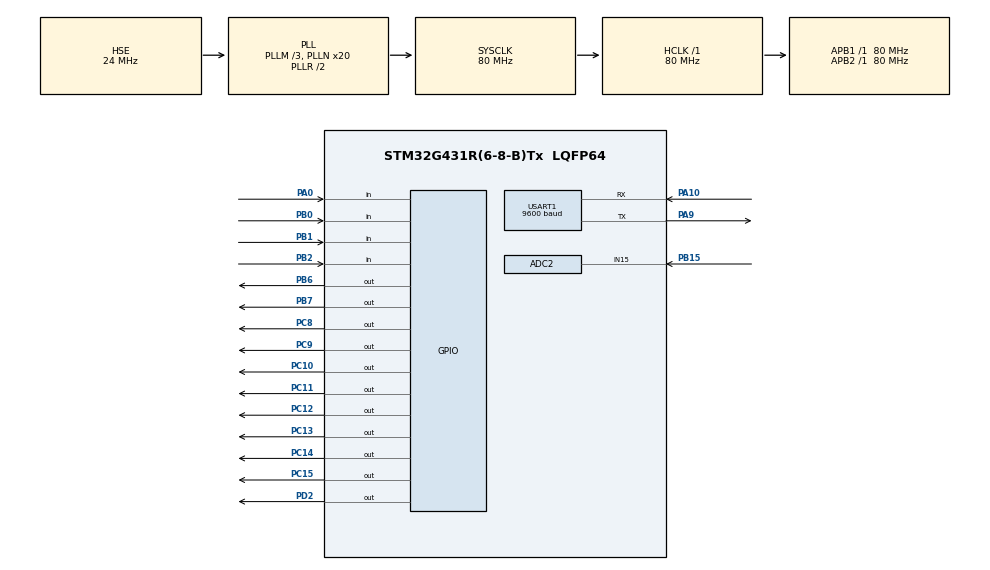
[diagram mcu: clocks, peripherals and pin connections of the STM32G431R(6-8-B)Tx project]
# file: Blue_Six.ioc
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ADC2.Channel-0\#ChannelRegularConversion=ADC_CHANNEL_15
ADC2.NbrOfConversionFlag=1
ADC2.OffsetNumber-0\#ChannelRegularConversion=ADC_OFFSET_NONE
ADC2.Rank-0\#ChannelRegularConversion=1
ADC2.SamplingTime-0\#ChannelRegularConversion=ADC_SAMPLETIME_640CYCLES_5
Mcu.Family=STM32G4
Mcu.Name=STM32G431R(6-8-B)Tx
Mcu.Package=LQFP64
NVIC.PriorityGroup=NVIC_PRIORITYGROUP_4
NVIC.USART1_IRQn=true\:0\:0\:false\:false\:true\:true\:true
PA0.GPIO_Mode=GPIO_MODE_INPUT
PA0.Signal=GPIO_Input
PA10.Mode=Asynchronous
PA10.Signal=USART1_RX
PA9.Mode=Asynchronous
PA9.Signal=USART1_TX
PB0.GPIO_Mode=GPIO_MODE_INPUT
PB0.Signal=GPIO_Input
PB1.GPIO_Mode=GPIO_MODE_INPUT
PB1.Signal=GPIO_Input
PB15.Mode=IN15-Single-Ended
PB15.Signal=ADC2_IN15
PB2.GPIO_Mode=GPIO_MODE_INPUT
PB2.Signal=GPIO_Input
PB6.PinState=GPIO_PIN_SET
PB6.Signal=GPIO_Output
PB7.PinState=GPIO_PIN_SET
PB7.Signal=GPIO_Output
PC10.PinState=GPIO_PIN_SET
PC10.Signal=GPIO_Output
PC11.PinState=GPIO_PIN_SET
PC11.Signal=GPIO_Output
PC12.PinState=GPIO_PIN_SET
PC12.Signal=GPIO_Output
PC13.PinState=GPIO_PIN_SET
PC13.Signal=GPIO_Output
PC14-OSC32_IN.PinState=GPIO_PIN_SET
PC14-OSC32_IN.Signal=GPIO_Output
PC15-OSC32_OUT.PinState=GPIO_PIN_SET
PC15-OSC32_OUT.Signal=GPIO_Output
PC8.PinState=GPIO_PIN_SET
PC8.Signal=GPIO_Output
PC9.PinState=GPIO_PIN_SET
PC9.Signal=GPIO_Output
PD2.PinState=GPIO_PIN_RESET
PD2.Signal=GPIO_Output
PF0-OSC_IN.Mode=HSE-External-Oscillator
PF0-OSC_IN.Signal=RCC_OSC_IN
PF1-OSC_OUT.Mode=HSE-External-Oscillator
PF1-OSC_OUT.Signal=RCC_OSC_OUT
ProjectManager.HeapSize=0x200
ProjectManager.StackSize=0x400
ProjectManager.TargetToolchain=MDK-ARM V5.27
RCC.ADC12Freq_Value=80000000
RCC.AHBFreq_Value=80000000
RCC.APB1Freq_Value=80000000
RCC.APB1TimFreq_Value=80000000
RCC.APB2Freq_Value=80000000
RCC.APB2TimFreq_Value=80000000
RCC.CortexFreq_Value=80000000
RCC.EXTERNAL_CLOCK_VALUE=12288000
RCC.HCLKFreq_Value=80000000
RCC.HSE_VALUE=24000000
RCC.HSI48_VALUE=48000000
RCC.HSI_VALUE=16000000
RCC.LSE_VALUE=32768
RCC.PLLM=RCC_PLLM_DIV3
RCC.PLLN=20
RCC.PLLSourceVirtual=RCC_PLLSOURCE_HSE
RCC.SYSCLKFreq_VALUE=80000000
RCC.SYSCLKSource=RCC_SYSCLKSOURCE_PLLCLK
RCC.USBFreq_Value=80000000
RCC.VCOOutputFreq_Value=160000000
RTC.AsynchPrediv=31
RTC.Date=4
RTC.Hours=23
RTC.Minutes=59
RTC.Month=RTC_MONTH_APRIL
RTC.Seconds=55
RTC.SynchPrediv=999
RTC.WeekDay=RTC_WEEKDAY_TUESDAY
RTC.Year=23
USART1.BaudRate=9600
USART1.VirtualMode-Asynchronous=VM_ASYNC
VP_RTC_VS_RTC_Activate.Mode=RTC_Enabled
VP_RTC_VS_RTC_Calendar.Mode=RTC_Calendar
VP_SYS_VS_DBSignals.Mode=DisableDeadBatterySignals
board=custom

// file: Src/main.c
/* USER CODE BEGIN Header */
/**
  ******************************************************************************
  * @file           : main.c
  * @brief          : Main program body
  ******************************************************************************
  * @attention
  *
  * <h2><center>&copy; Copyright (c) 2023 STMicroelectronics.
  * All rights reserved.</center></h2>
  *
  * This software component is licensed by ST under BSD 3-Clause license,
  * the "License"; You may not use this file except in compliance with the
  * License. You may obtain a copy of the License at:
  *                        opensource.org/licenses/BSD-3-Clause
  *
  ******************************************************************************
  */
/* USER CODE END Header */

#include "main.h"
#include "adc.h"
#include "rtc.h"
#include "usart.h"
#include "gpio.h"

/* USER CODE BEGIN Includes */
#include "i2c_hal.h"
#include "lcd_hal.h"
#include <stdio.h>
#include <string.h>
/* USER CODE END Includes */

/* USER CODE BEGIN PTD */
#define k1 HAL_GPIO_ReadPin(GPIOB,GPIO_PIN_0)
#define k2 HAL_GPIO_ReadPin(GPIOB,GPIO_PIN_1)
#define k3 HAL_GPIO_ReadPin(GPIOB,GPIO_PIN_2)
#define k4 HAL_GPIO_ReadPin(GPIOA,GPIO_PIN_0)
#define key k1 | (k2<<1) | (k3<<2) | (k4<<3) | 0xf0

/* USER CODE END PTD */

/* USER CODE BEGIN PM */
_Bool ui = 0;
_Bool led1_Flag = 1;

RTC_TimeTypeDef T = {0};
RTC_DateTypeDef D = {0};

float volt = 0;
float k = 0.1;

uint8_t tag;
uint8_t cnt;
uint8_t Key3_Flag = 0;
_Bool light_Flag = 1;
uint8_t RX_pointer = 0;
uint8_t tx_Buffer[20];
uint8_t rx_Buffer[20];

uint8_t led_ctrl = 0x00;
uint8_t LED_State[4] = "OFF";
uint8_t Time_Set[3] = {0};
uint8_t Time_Set_vaild[3] = {0};
uint8_t rx_data[2];

uint32_t LCD_tick = 0;
uint32_t LED_tick = 0;
uint32_t Key_tick = 0;
uint32_t TX_tick = 0;
uint32_t RX_tick = 0;
/* USER CODE END PM */

void SystemClock_Config(void);
/* USER CODE BEGIN PFP */
void LED_Disp(uint8_t led);
void TX_Proc(void);
void RX_Proc(void);
void RTC_Proc(void);
void ADC_Proc(void);
void LCD_Proc(void);
void LED_Proc(void);
void Key_Proc(void);
void Key_Read(void);

/* USER CODE END PFP */

/* USER CODE BEGIN 0 */
struct __FILE
{
  int handle;
};

FILE __stdout;
int fputc(int ch, FILE *f)
{
  HAL_UART_Transmit(&huart1,(u8 *)&ch,1,50);
  return ch;
}

void HAL_UART_RxCpltCallback(UART_HandleTypeDef *huart)
{
	RX_tick = uwTick;

	rx_Buffer[RX_pointer++] = rx_data[0];
	HAL_UART_Receive_IT(&huart1,rx_data,1);
}
/* USER CODE END 0 */

int main(void)
{

  /* MCU Configuration--------------------------------------------------------*/

  /* Reset of all peripherals, Initializes the Flash interface and the Systick. */
  HAL_Init();

  /* Configure the system clock */
  SystemClock_Config();

  /* Initialize all configured peripherals */
  MX_GPIO_Init();
  MX_ADC2_Init();
  MX_RTC_Init();
  MX_USART1_UART_Init();
  /* USER CODE BEGIN 2 */
	I2CInit();
	LCD_Init();
	LCD_Clear(Black);
	LCD_SetBackColor(Black);
	LCD_SetTextColor(White);

	printf("12345");
	HAL_UART_Receive_IT(&huart1,rx_data,1);
//	EEPROM_Write(0x01,1);
	k = EEPROM_Read(0x01) / 10.0f;

  /* USER CODE END 2 */

  /* Infinite loop */
  /* USER CODE BEGIN WHILE */
  while (1)
  {
	  LCD_Proc();
	  Key_Proc();
	  LED_Proc();
	  ADC_Proc();
	  RTC_Proc();
	  TX_Proc();
	  RX_Proc();
    /* USER CODE END WHILE */

  }
}

void SystemClock_Config(void)
{
  RCC_OscInitTypeDef RCC_OscInitStruct = {0};
  RCC_ClkInitTypeDef RCC_ClkInitStruct = {0};
  RCC_PeriphCLKInitTypeDef PeriphClkInit = {0};

  /** Configure the main internal regulator output voltage
  */
  HAL_PWREx_ControlVoltageScaling(PWR_REGULATOR_VOLTAGE_SCALE1);
  /** Initializes the CPU, AHB and APB busses clocks
  */
  RCC_OscInitStruct.OscillatorType = RCC_OSCILLATORTYPE_LSI|RCC_OSCILLATORTYPE_HSE;
  RCC_OscInitStruct.HSEState = RCC_HSE_ON;
  RCC_OscInitStruct.LSIState = RCC_LSI_ON;
  RCC_OscInitStruct.PLL.PLLState = RCC_PLL_ON;
  RCC_OscInitStruct.PLL.PLLSource = RCC_PLLSOURCE_HSE;
  RCC_OscInitStruct.PLL.PLLM = RCC_PLLM_DIV3;
  RCC_OscInitStruct.PLL.PLLN = 20;
  RCC_OscInitStruct.PLL.PLLP = RCC_PLLP_DIV2;
  RCC_OscInitStruct.PLL.PLLQ = RCC_PLLQ_DIV2;
  RCC_OscInitStruct.PLL.PLLR = RCC_PLLR_DIV2;
  if (HAL_RCC_OscConfig(&RCC_OscInitStruct) != HAL_OK)
  {
    Error_Handler();
  }
  /** Initializes the CPU, AHB and APB busses clocks
  */
  RCC_ClkInitStruct.ClockType = RCC_CLOCKTYPE_HCLK|RCC_CLOCKTYPE_SYSCLK
                              |RCC_CLOCKTYPE_PCLK1|RCC_CLOCKTYPE_PCLK2;
  RCC_ClkInitStruct.SYSCLKSource = RCC_SYSCLKSOURCE_PLLCLK;
  RCC_ClkInitStruct.AHBCLKDivider = RCC_SYSCLK_DIV1;
  RCC_ClkInitStruct.APB1CLKDivider = RCC_HCLK_DIV1;
  RCC_ClkInitStruct.APB2CLKDivider = RCC_HCLK_DIV1;

  if (HAL_RCC_ClockConfig(&RCC_ClkInitStruct, FLASH_LATENCY_3) != HAL_OK)
  {
    Error_Handler();
  }
  /** Initializes the peripherals clocks
  */
  PeriphClkInit.PeriphClockSelection = RCC_PERIPHCLK_RTC|RCC_PERIPHCLK_USART1
                              |RCC_PERIPHCLK_ADC12;
  PeriphClkInit.Usart1ClockSelection = RCC_USART1CLKSOURCE_PCLK2;
  PeriphClkInit.Adc12ClockSelection = RCC_ADC12CLKSOURCE_SYSCLK;
  PeriphClkInit.RTCClockSelection = RCC_RTCCLKSOURCE_LSI;

  if (HAL_RCCEx_PeriphCLKConfig(&PeriphClkInit) != HAL_OK)
  {
    Error_Handler();
  }
}

/* USER CODE BEGIN 4 */
void RTC_Proc(void)
{
	HAL_RTC_GetTime(&hrtc,&T,RTC_FORMAT_BIN);
	HAL_RTC_GetDate(&hrtc,&D,RTC_FORMAT_BIN);
}

void ADC_Proc(void)
{
	HAL_ADC_Start(&hadc2);
	HAL_ADC_PollForConversion(&hadc2,2);
	volt = HAL_ADC_GetValue(&hadc2) * 3.3f / 4095.0f;
	HAL_ADC_Stop(&hadc2);
}

void TX_Proc(void)
{
	if(uwTick - TX_tick < 500) return;
	TX_tick = uwTick;
	if(T.Hours == Time_Set_vaild[0] && T.Minutes == Time_Set_vaild[1] && T.Seconds == Time_Set_vaild[2] )
	{
		printf("%4.2f+%3.1f+%02d%02d%02d\r\n",volt,k,Time_Set_vaild[0],Time_Set_vaild[1],Time_Set_vaild[2]);
	}
}

void RX_Proc(void)
{
	if(uwTick - RX_tick <50) return;
	RX_tick  = uwTick;
	if((rx_Buffer[0] == 'k') && (rx_Buffer[1] == '0') && (rx_Buffer[2] == '.') && (RX_pointer == 6) && (rx_Buffer[4] == '\\')&& (rx_Buffer[5] == 'n'))
	{

		if(rx_Buffer[3] < '9' && rx_Buffer[3] > '0')
		{
			k = (rx_Buffer[3] - '0') / 10.0f;
			printf("ok\r\n");
			EEPROM_Write(0x01,rx_Buffer[3] - '0');
		}
		else
		{
			printf("请输入正确的数字\r\n");
		}

	}
	else if(RX_pointer > 0)
	{
		printf("输入格式错误\r\n");
	}
	RX_pointer = 0;
	memset(rx_Buffer,'\0',sizeof(rx_Buffer));
}

void LCD_Proc(void)
{
	if(uwTick - LCD_tick < 200) return;
	LCD_tick = uwTick;

	uint8_t LCD_Buffer[20];
	if(ui == 0)
	{
		sprintf((char *)LCD_Buffer,"  V1:%4.2fV          ",volt);
		LCD_DisplayStringLine(Line1,LCD_Buffer);
		sprintf((char *)LCD_Buffer,"  k:%3.1f            ",k);
		LCD_DisplayStringLine(Line3,LCD_Buffer);
		if(led1_Flag == 1)
		{
			sprintf((char *)LED_State,"ON");
		}
		else
		{
			sprintf((char *)LED_State,"OFF");
		}
		sprintf((char *)LCD_Buffer,"  LED:%s             ",LED_State);
		LCD_DisplayStringLine(Line5,LCD_Buffer);
		sprintf((char *)LCD_Buffer,"  T:%02d-%02d-%02d           ",T.Hours,T.Minutes,T.Seconds);
		LCD_DisplayStringLine(Line7,LCD_Buffer);
		LCD_DisplayStringLine(Line9,(u8*)"                   1");
	}
	else
	{
		LCD_DisplayStringLine(Line2,(u8 *)"       Setting      ");
		if(light_Flag)
		{
			sprintf((char *)LCD_Buffer,"      %02d-%02d-%02d       ",Time_Set[0],Time_Set[1],Time_Set[2]);
			light_Flag = !light_Flag;
		}
		else if(light_Flag == 0 && Key3_Flag == 0)
		{
			sprintf((char *)LCD_Buffer,"        -%02d-%02d       ",Time_Set[1],Time_Set[2]);
			light_Flag = !light_Flag;
		}
		else if(light_Flag == 0 && Key3_Flag == 1)
		{
			sprintf((char *)LCD_Buffer,"      %02d-  -%02d       ",Time_Set[0],Time_Set[2]);
			light_Flag = !light_Flag;
		}
		else if(light_Flag == 0 && Key3_Flag == 2)
		{
			sprintf((char *)LCD_Buffer,"      %02d-%02d-         ",Time_Set[0],Time_Set[1]);
			light_Flag = !light_Flag;
		}
//		sprintf((char *)LCD_Buffer,"      %02d-%02d-%02d       ",Time_Set[0],Time_Set[1],Time_Set[2]);
		LCD_DisplayStringLine(Line5,LCD_Buffer);
		LCD_DisplayStringLine(Line9,(u8 *)"                   2");
	}
}

void Key_Read(void)
{
	uint8_t Key_val = (key) ^ 0xff;
	tag = Key_val & (Key_val ^ cnt);
	cnt = Key_val;
}

void Key_Proc(void)
{
	if(uwTick - Key_tick < 20) return;
	Key_tick = uwTick;
	Key_Read();

	if(tag & 0x01)
	{
		led1_Flag = !led1_Flag;
	}
	if(tag & 0x02 )
	{
		ui = !ui;
		LCD_Clear(Black);
		Time_Set_vaild[0] = Time_Set[0];
		Time_Set_vaild[1] = Time_Set[1];
		Time_Set_vaild[2] = Time_Set[2];
	}
	if(tag & 0x04 && ui)
	{
		Key3_Flag = (Key3_Flag + 1) % 3;
	}
	if(tag & 0x08 && ui)
	{
		Time_Set[Key3_Flag]++;
			if(Time_Set[0] == 24)
				Time_Set[0] = 0;
			if(Time_Set[1] == 60)
				Time_Set[1] = 0;
			if(Time_Set[2] == 60)
				Time_Set[2] = 0;
	}
}

void LED_Disp(uint8_t led)
{

	HAL_GPIO_WritePin(GPIOC,0xff00,GPIO_PIN_SET);
	HAL_GPIO_WritePin(GPIOC,led<<8,GPIO_PIN_RESET);
	HAL_GPIO_WritePin(GPIOD,GPIO_PIN_2,GPIO_PIN_SET);
	HAL_GPIO_WritePin(GPIOD,GPIO_PIN_2,GPIO_PIN_RESET);
}

void LED_Proc(void)
{
	if(uwTick - LED_tick < 200)  return;
	LED_tick = uwTick;
	if((volt > 3.3f * k) && led1_Flag)
	{
		led_ctrl ^=  0x01;
	}
	else
	{
		led_ctrl = 0x00;
	}
	LED_Disp(led_ctrl);
}
/* USER CODE END 4 */

void Error_Handler(void)
{
}

/************************ (C) COPYRIGHT STMicroelectronics *****END OF FILE****/
